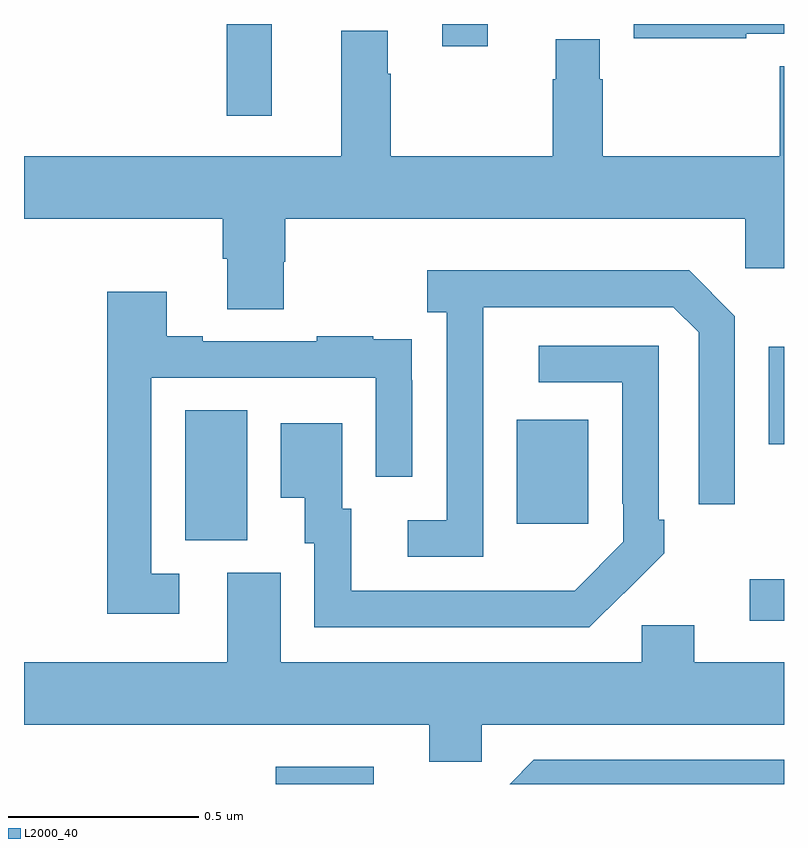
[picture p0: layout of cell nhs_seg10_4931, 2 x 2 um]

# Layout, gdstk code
import gdstk
lib = gdstk.Library(unit=1e-6, precision=1e-09)
def R(c, l, rs):  # rectangles x0, y0, x1, y1
    for r in rs: c.add(gdstk.rectangle(r[:2], r[2:], *l))
def P(c, l, *ps):  # polygons
    for p in ps: c.add(gdstk.Polygon(p, *l))
L2000_40 = (2000, 40)

nhs_seg10_4931 = lib.new_cell('nhs_seg10_4931')
R(nhs_seg10_4931, L2000_40, [(172.663,1293.5,172.921,1293.546), (173.91,1293.93,174,1294.039), (172.424,1294.141,172.588,1294.484), (173.297,1294.185,173.485,1294.459), (173.96,1294.394,174,1294.651), (172.534,1295.259,172.652,1295.5), (173.101,1295.442,173.221,1295.5)])
P(nhs_seg10_4931, L2000_40, [(173.9,1295.475),(174,1295.475),(174,1295.5),(173.604,1295.5),(173.604,1295.463),(173.9,1295.463)],
  [(172.683,1294.875),(172.688,1294.875),(172.688,1294.988),(173.898,1294.988),(173.898,1294.857),(174,1294.857),(174,1295.389),(173.989,1295.389),(173.989,1295.152),(173.523,1295.152),(173.523,1295.354),(173.515,1295.354),(173.515,1295.46),(173.399,1295.46),(173.399,1295.354),(173.392,1295.354),(173.392,1295.152),(172.965,1295.152),(172.965,1295.369),(172.957,1295.369),(172.957,1295.482),(172.835,1295.482),(172.835,1295.152),(172,1295.152),(172,1294.988),(172.523,1294.988),(172.523,1294.882),(172.535,1294.882),(172.535,1294.75),(172.683,1294.75)],
  [(173.208,1294.555),(173.209,1294.555),(173.209,1294.755),(173.709,1294.755),(173.775,1294.689),(173.775,1294.236),(173.871,1294.236),(173.871,1294.731),(173.75,1294.852),(173.061,1294.852),(173.061,1294.742),(173.112,1294.742),(173.112,1294.194),(173.01,1294.194),(173.01,1294.098),(173.208,1294.098)],
  [(172.408,1294.053),(172.335,1294.053),(172.335,1294.569),(172.926,1294.569),(172.926,1294.308),(173.022,1294.308),(173.022,1294.562),(173.021,1294.562),(173.021,1294.671),(172.919,1294.671),(172.919,1294.678),(172.771,1294.678),(172.771,1294.665),(172.471,1294.665),(172.471,1294.678),(172.375,1294.678),(172.375,1294.795),(172.219,1294.795),(172.219,1293.948),(172.408,1293.948)],
  [(173.579,1294.003),(173.58,1294.002),(173.685,1294.107),(173.685,1294.195),(173.67,1294.195),(173.67,1294.653),(173.355,1294.653),(173.355,1294.557),(173.574,1294.557),(173.574,1294.237),(173.577,1294.237),(173.577,1294.137),(173.449,1294.009),(173.345,1294.009),(173.345,1294.008),(172.861,1294.008),(172.861,1294.224),(172.837,1294.224),(172.837,1294.45),(172.676,1294.45),(172.676,1294.253),(172.739,1294.253),(172.739,1294.134),(172.764,1294.134),(172.764,1293.912),(173.488,1293.912)],
  [(173.205,1293.656),(174,1293.656),(174,1293.82),(173.764,1293.82),(173.764,1293.918),(173.625,1293.918),(173.625,1293.82),(172.675,1293.82),(172.675,1294.056),(172.535,1294.056),(172.535,1293.82),(172,1293.82),(172,1293.656),(173.066,1293.656),(173.066,1293.558),(173.205,1293.558)],
  [(174,1293.564),(173.342,1293.564),(173.278,1293.5),(174,1293.5)])

lib.write_gds('nhs_seg10_4931.gds')
